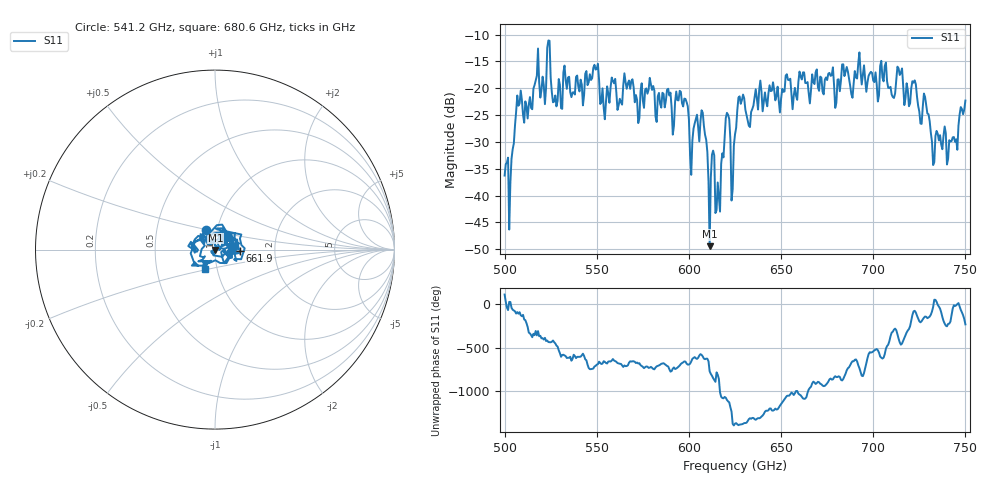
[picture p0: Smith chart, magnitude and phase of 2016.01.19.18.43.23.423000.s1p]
!Created with skrf (http://scikit-rf.org).
# GHz S RI R 50.0
!freq ReS11 ImS11
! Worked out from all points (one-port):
!   401 points, 500 GHz to 750 GHz, reference 50 ohm
!   lowest |S11| = -49.4 dB at 611.2 GHz (marker M1), VSWR 1.01, Z = 50.2 - j0.271 ohm
!   |S11| at or under -10 dB: start of sweep to end of sweep
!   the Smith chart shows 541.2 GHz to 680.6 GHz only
!   S11 on the Smith chart (normalised r, x): 541.2 GHz: 0.88, +0.19; 661.9 GHz: 1.33, -0.02; 680.6 GHz: 0.87, -0.19
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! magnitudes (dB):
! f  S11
! 500 GHz  -36.3
! 503.8 GHz  -33.1
! 507.5 GHz  -23.2
! 513.8 GHz  -21.6
! 516.9 GHz  -18.6
! 531.2 GHz  -23.8
! 541.2 GHz  -18.4
! 549.4 GHz  -16.5
! 553.1 GHz  -20.0
! 562.5 GHz  -22.0
! 593.8 GHz  -22.2
! 601.2 GHz  -36.1
! 607.5 GHz  -24.5
! 611.2 GHz  -49.4
! 615.6 GHz  -37.6
! 620.6 GHz  -24.6
! 623.8 GHz  -38.8
! 625 GHz  -28.6
! 628.1 GHz  -22.9
! 656.2 GHz  -23.9
! 661.9 GHz  -17.0
! 680.6 GHz  -18.4
! 687.5 GHz  -19.5
! 714.4 GHz  -17.5
! 718.8 GHz  -20.3
! 728.8 GHz  -23.1
! 732.5 GHz  -34.3
! 750 GHz  -22.3
